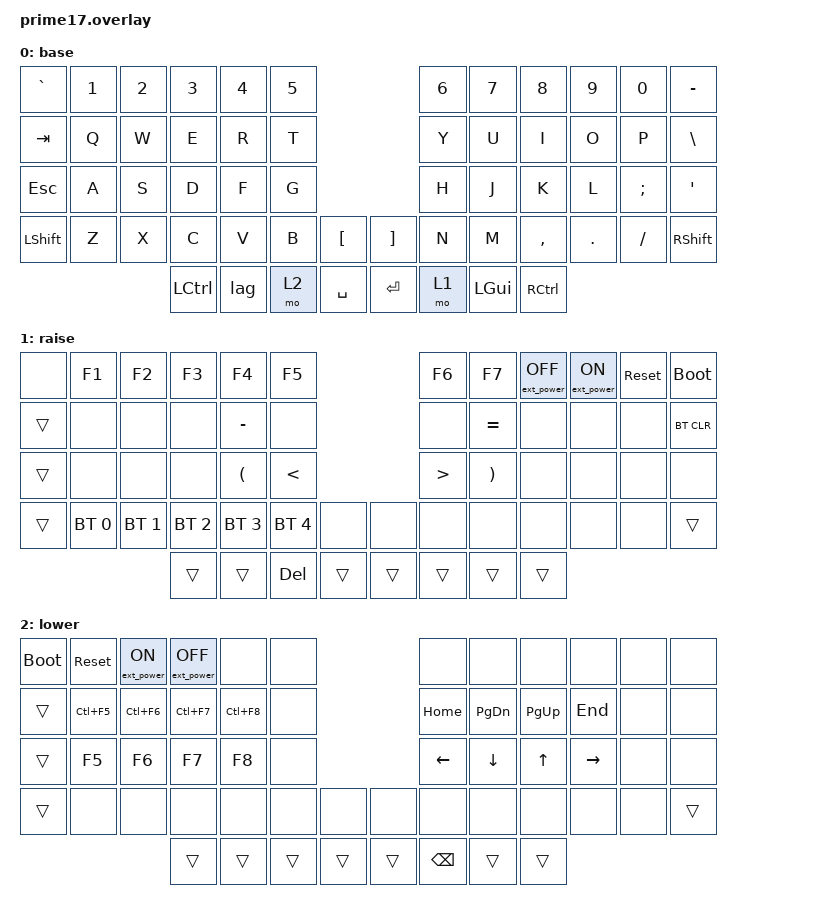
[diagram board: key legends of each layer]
// vim: ft=dts

#include <behaviors.dtsi>
#include <dt-bindings/zmk/matrix_transform.h>
#include <dt-bindings/zmk/keys.h>
#include <dt-bindings/zmk/bt.h>
#include <dt-bindings/zmk/ext_power.h>

/ {
    behaviors {
        lag: tap_dance_lag {
            compatible = "zmk,behavior-tap-dance";
            label = "LAG";
            #binding-cells = <0>;
            tapping-term-ms = <200>;
            bindings = <&kp LALT>, <&kp LGUI>;
        };
    };

    chosen {
        zmk,kscan = &kscan;
        zmk,matrix-transform = &transform;
    };

    transform: transform {
        compatible = "zmk,matrix-transform";
        columns = <16>;
        rows = <5>;
        map = <
RC(0,0) RC(0,1) RC(0,2) RC(0,3) RC(0,4) RC(0,5)                 RC(0,6) RC(0,7) RC(0,8) RC(0,9) RC(0,10) RC(0,11)
RC(1,0) RC(1,1) RC(1,2) RC(1,3) RC(1,4) RC(1,5)                 RC(1,6) RC(1,7) RC(1,8) RC(1,9) RC(1,10) RC(1,11)
RC(2,0) RC(2,1) RC(2,2) RC(2,3) RC(2,4) RC(2,5)                 RC(2,6) RC(2,7) RC(2,8) RC(2,9) RC(2,10) RC(2,11)
RC(3,0) RC(3,1) RC(3,2) RC(3,3) RC(3,4) RC(3,5) RC(4,5) RC(4,6) RC(3,6) RC(3,7) RC(3,8) RC(3,9) RC(3,10) RC(3,11)
                        RC(4,1) RC(4,2) RC(4,3) RC(4,4) RC(4,7) RC(4,8) RC(4,9) RC(4,10)
        >;

#if defined(PRIME17_LEFT)
        col-offset = <0>;
#elif defined(PRIME17_RIGHT)
        col-offset = <6>;
#endif
    };

    kscan: kscan {
        compatible = "zmk,kscan-gpio-matrix";
        wakeup-source;

        diode-direction = "col2row";
        row-gpios
            = <&pro_micro 5 (GPIO_ACTIVE_HIGH | GPIO_PULL_DOWN)>
            , <&pro_micro 6 (GPIO_ACTIVE_HIGH | GPIO_PULL_DOWN)>
            , <&pro_micro 7 (GPIO_ACTIVE_HIGH | GPIO_PULL_DOWN)>
            , <&pro_micro 8 (GPIO_ACTIVE_HIGH | GPIO_PULL_DOWN)>
            , <&pro_micro 9 (GPIO_ACTIVE_HIGH | GPIO_PULL_DOWN)>
            ;

#if defined(PRIME17_LEFT)
        col-gpios =
        <&pro_micro 19 GPIO_ACTIVE_HIGH>,
        <&pro_micro 18 GPIO_ACTIVE_HIGH>,
        <&pro_micro 15 GPIO_ACTIVE_HIGH>,
        <&pro_micro 14 GPIO_ACTIVE_HIGH>,
        <&pro_micro 16 GPIO_ACTIVE_HIGH>,
        <&pro_micro 10 GPIO_ACTIVE_HIGH>;
#elif defined(PRIME17_RIGHT)
        col-gpios =
        <&pro_micro 10 GPIO_ACTIVE_HIGH>,
        <&pro_micro 16 GPIO_ACTIVE_HIGH>,
        <&pro_micro 14 GPIO_ACTIVE_HIGH>,
        <&pro_micro 15 GPIO_ACTIVE_HIGH>,
        <&pro_micro 18 GPIO_ACTIVE_HIGH>,
        <&pro_micro 19 GPIO_ACTIVE_HIGH>;
#else
        col-gpios =
        <&pro_micro 19 GPIO_ACTIVE_HIGH>,
        <&pro_micro 18 GPIO_ACTIVE_HIGH>,
        <&pro_micro 15 GPIO_ACTIVE_HIGH>,
        <&pro_micro 14 GPIO_ACTIVE_HIGH>,
        <&pro_micro 16 GPIO_ACTIVE_HIGH>,
        <&pro_micro 10 GPIO_ACTIVE_HIGH>;
#endif
    };

    keymap {
        compatible = "zmk,keymap";

        base {
// ,------------------------.                ,------------------------.
// | `  | 1 | 2 | 3 | 4 | 5 |                | 6 | 7 | 8 | 9 | 0 | -  |
// |------------------------|                |------------------------|
// |Tab | Q | W | E | R | T |                | Y | U | I | O | P | \  |
// |------------------------|                |------------------------|
// |Esc | A | S | D | F | G |-----.    ,-----| H | J | K | L | ; | '  |
// |------------------------|  [  |    |  ]  |------------------------|
// |LSft| Z | X | C | V | B |-----|    |-----| N | M | , | . | / |RSft|
// `-----------------------/     /     \     \------------------------'
//        |LCtl|LAG |Lwr |/ Spc /       \Entr \| Rse|LGUI|RCtl|
//        `--------------------'         '----''--------------'

            bindings = <
&kp GRAVE   &kp N1   &kp N2   &kp N3      &kp N4   &kp N5                           &kp N6   &kp N7   &kp N8      &kp N9    &kp N0     &kp MINUS
&kp TAB     &kp Q    &kp W    &kp E       &kp R    &kp T                            &kp Y    &kp U    &kp I       &kp O     &kp P      &kp BSLH
&kp ESC     &kp A    &kp S    &kp D       &kp F    &kp G                            &kp H    &kp J    &kp K       &kp L     &kp SEMI   &kp SQT
&kp LSHFT   &kp Z    &kp X    &kp C       &kp V    &kp B    &kp LBKT     &kp RBKT   &kp N    &kp M    &kp COMMA   &kp DOT   &kp FSLH   &kp RSHFT
                              &kp LCTRL   &lag     &mo 2    &kp SPACE    &kp RET    &mo 1    &kp LGUI &kp RCTRL
            >;
        };

        raise {
// ,------------------------.                ,------------------------.
// |    | F1| F2| F3| F4| F5|                | F6| F7|EOF|EON|RST|BOOT|
// |------------------------|                |------------------------|
// |Tab |   |   |   | - |   |                |   | = |   |   |   | BTC|
// |------------------------|                |------------------------|
// |Esc |   |   |   | ( | < |-----.    ,-----| > | ) |   |   |   |    |
// |------------------------|     |    |     |------------------------|
// |LSft|BT0|BT1|BT2|BT3|BT4|-----|    |-----|   |   |   |   |   |RSft|
// `-----------------------/     /     \     \------------------------'
//        |LCtl|LAG |Del |/ Spc /       \Entr \| Rse|LGUI|RCtl|
//        `--------------------'         '----''--------------'

            bindings = <
&none    &kp F1         &kp F2         &kp F3         &kp F4         &kp F5                           &kp F6      &kp F7      &ext_power EP_OFF   &ext_power EP_ON   &sys_reset   &bootloader
&trans   &none          &none          &none          &kp MINUS      &none                            &none       &kp EQUAL   &none               &none              &none        &bt BT_CLR
&trans   &none          &none          &none          &kp LPAR       &kp LT                           &kp GT      &kp RPAR    &none               &none              &none        &none
&trans   &bt BT_SEL 0   &bt BT_SEL 1   &bt BT_SEL 2   &bt BT_SEL 3   &bt BT_SEL 4   &none    &none    &none       &none       &none               &none              &none        &trans
                                       &trans         &trans         &kp DEL        &trans   &trans   &trans      &trans      &trans
            >;
        };

        lower {
// ,------------------------.                ,------------------------.
// |BOOT|RST|EON|EOF|   |   |                |   |   |   |   |   |    |
// |------------------------|                |------------------------|
// |Tab |CF5|CF6|CF7|CF8|   |                |Hme|PgD|PgU|End|   |    |
// |------------------------|                |------------------------|
// |Esc | F5| F6| F7| F8|   |-----.    ,-----|Lft|Dwn| Up|Rgt|   |    |
// |------------------------|     |    |     |------------------------|
// |LSft|   |   |   |   |   |-----|    |-----|   |   |   |   |   |RSft|
// `-----------------------/     /     \     \------------------------'
//        |LCtl|LAG |Lwr |/ Spc /       \Entr \|Bksp|LGUI|RCtl|
//        `--------------------'         '----''--------------'

            bindings = <
&bootloader   &sys_reset   &ext_power EP_ON   &ext_power EP_OFF   &none        &none                      &none      &none       &none       &none       &none   &none
&trans        &kp LC(F5)   &kp LC(F6)         &kp LC(F7)          &kp LC(F8)   &none                      &kp HOME   &kp PG_DN   &kp PG_UP   &kp END     &none   &none
&trans        &kp F5       &kp F6             &kp F7              &kp F8       &none                      &kp LEFT   &kp DOWN    &kp UP      &kp RIGHT   &none   &none
&trans        &none        &none              &none               &none        &none    &none    &none    &none      &none       &none       &none       &none   &trans
                                              &trans              &trans       &trans   &trans   &trans   &kp BSPC   &trans      &trans
            >;
        };
    };
};

